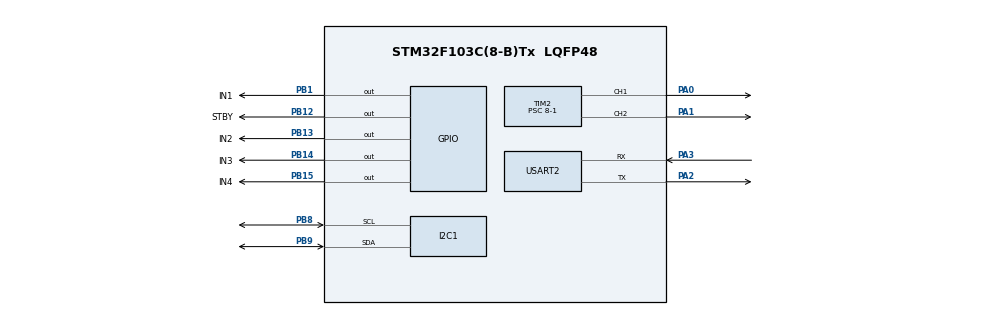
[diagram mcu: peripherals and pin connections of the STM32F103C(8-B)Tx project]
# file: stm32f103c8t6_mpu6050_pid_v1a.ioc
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Mcu.Family=STM32F1
Mcu.Name=STM32F103C(8-B)Tx
Mcu.Package=LQFP48
NVIC.PriorityGroup=NVIC_PRIORITYGROUP_4
PA0-WKUP.Signal=S_TIM2_CH1_ETR
PA1.Signal=S_TIM2_CH2
PA13.Mode=Serial_Wire
PA13.Signal=SYS_JTMS-SWDIO
PA14.Mode=Serial_Wire
PA14.Signal=SYS_JTCK-SWCLK
PA2.Mode=Asynchronous
PA2.Signal=USART2_TX
PA3.Mode=Asynchronous
PA3.Signal=USART2_RX
PB1.GPIO_Label=IN1
PB1.Signal=GPIO_Output
PB12.GPIO_Label=STBY
PB12.Signal=GPIO_Output
PB13.GPIO_Label=IN2
PB13.Signal=GPIO_Output
PB14.GPIO_Label=IN3
PB14.Signal=GPIO_Output
PB15.GPIO_Label=IN4
PB15.Signal=GPIO_Output
PB8.Mode=I2C
PB8.Signal=I2C1_SCL
PB9.Mode=I2C
PB9.Signal=I2C1_SDA
PD0-OSC_IN.Mode=HSE-External-Oscillator
PD0-OSC_IN.Signal=RCC_OSC_IN
PD1-OSC_OUT.Mode=HSE-External-Oscillator
PD1-OSC_OUT.Signal=RCC_OSC_OUT
ProjectManager.HeapSize=0x200
ProjectManager.StackSize=0x400
ProjectManager.TargetToolchain=MDK-ARM V5.32
RCC.APB1Freq_Value=8000000
RCC.APB2CLKDivider=RCC_HCLK_DIV8
RCC.APB2Freq_Value=1000000
RCC.APB2TimFreq_Value=2000000
SH.S_TIM2_CH1_ETR.0=TIM2_CH1,PWM Generation1 CH1
SH.S_TIM2_CH2.0=TIM2_CH2,PWM Generation2 CH2
TIM2.Channel-PWM\ Generation1\ CH1=TIM_CHANNEL_1
TIM2.Channel-PWM\ Generation2\ CH2=TIM_CHANNEL_2
TIM2.Period=1000
TIM2.Prescaler=8-1
USART2.VirtualMode=VM_ASYNC
VP_TIM2_VS_ClockSourceINT.Mode=Internal
board=custom

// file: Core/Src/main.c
/* USER CODE BEGIN Header */
/**
  ******************************************************************************
  * @file           : main.c
  * @brief          : Main program body
  ******************************************************************************
  * @attention
  *
  * Copyright (c) 2025 STMicroelectronics.
  * All rights reserved.
  *
  * This software is licensed under terms that can be found in the LICENSE file
  * in the root directory of this software component.
  * If no LICENSE file comes with this software, it is provided AS-IS.
  *
  ******************************************************************************
  */
/* USER CODE END Header */
#include "main.h"

/* USER CODE BEGIN Includes */
#include "MPU6050.h"
#include "motor.h"
#include "pid.h"
#include "fonts.h"
#include <stdio.h>
#include <stdarg.h>
#include <math.h>
#include <string.h>
#include <stdlib.h>

/* USER CODE END Includes */

/* USER CODE BEGIN PD */
#define ONE_G 				(9.81) 	// acceleration due to gravity
#define LOOP_DELAY 			(10)	// infinite loop delay

// PID defines
#define MOTOR_REFERENCE 200	// define the motor reference speed
float motor_reference_angle = -1; // the imu is placed such that a change in x axis drives the tilt
//float sample_rate = 0.000125; // 0.125 ms TODO: use system clock to get sample rate
unsigned long long sampling_frequency = 8000000;

// motor defines
#define LEFT_DC_MOTOR 0
#define RIGHT_DC_MOTOR 1

// create motor PID instances
// left motor PID instance
pid_instance left_motor_pid_instance;
pid_instance* p_left_motor_instance = &left_motor_pid_instance;

// right motor PID instance
pid_instance right_motor_pid_instance;
pid_instance* p_right_motor_instance = &right_motor_pid_instance;

/* USER CODE END PD */

I2C_HandleTypeDef hi2c1;

TIM_HandleTypeDef htim2;

UART_HandleTypeDef huart2;

/* USER CODE BEGIN PV */
char msg[20] = "";
char mpu_data[100];
char data[40] = ""; // sd card test char array
char debug[40];

// create accelerometer struct
MPU6050 acc;
MPU6050* p_acc = &acc; // pointer to accelerometer
float x_acc_ms, y_acc_ms, z_acc_ms; // acceleration converted to m/s^2

// struct to hold both accelerometer data and the gyroscope data
typedef struct {
	float x_acc;
	float y_acc;
	float z_acc;
	float gyro_x;
	float gyro_y;
	float gyro_z;
} SensorData;

SensorData sensorData;

// use this pointer to store raw sensor data
SensorData* p_SensorData = &sensorData;

// struct to hold filtered sensor data - angles to be specific
// these are angle estimates, not accurate angles
typedef struct {
	float x_angle_estimate;
	float y_angle_estimate;
	float z_angle_estimate;

} FilteredAngles;

FilteredAngles filtered_angles;
FilteredAngles* p_filtered_angles = &filtered_angles;

// variables to store the rotation angles of the sensor
unsigned long 	last_read_time = 0;
float			last_x_angle; // filtered angles
float 		last_y_angle;
float			last_z_angle;
float			last_gyro_x_angle; // store the gyro angles to compare drift
float			last_gyro_y_angle;
float 		last_gyro_z_angle;

// radians to degrees conversion factor
float RADS_TO_DEG = 180.0 / 3.14159;
float alpha = 0.96;
volatile float out;
/* USER CODE END PV */

void SystemClock_Config(void);
static void MX_GPIO_Init(void);
static void MX_I2C1_Init(void);
static void MX_TIM2_Init(void);
static void MX_USART2_UART_Init(void);
/* USER CODE BEGIN PFP */
// function to set the current angle readings to the last read angles
void myPrintf(const char *fmt, ...); // function to send formatted data over serial
void setDutyCycle(int dutyCycle); // function to set PWM duty cycle

void set_last_read_angle_data(
		unsigned long time,
		float x,
		float y,
		float z,
		float x_gyro,
		float y_gyro,
		float z_gyro
		) {
	last_read_time = time;
	last_x_angle = x;
	last_y_angle = y;
	last_z_angle = z;
	last_gyro_x_angle = x_gyro;
	last_gyro_y_angle = y_gyro;
	last_gyro_z_angle = z_gyro;
}

// calibration variables
float	base_x_accel;
float 	base_y_accel;
float	base_z_accel;
float 	base_x_gyro;
float	base_y_gyro;
float	base_z_gyro;

// function to callibrate sensors
void callibrate_sensor(){
	int		num_readings = 20;
	float 	x_accel = 0;
	float	y_accel = 0;
	float 	z_accel	= 0;
	float	x_gyro	= 0;
	float 	y_gyro	= 0;
	float	z_gyro	= 0;

	for(int i = 0; i < num_readings; i++){
		// read accelerometer
		MPU6050_ReadAcceleration(&acc);

		// Read gyroscope values
		MPU6050_ReadGyroscope(&acc);

		// convert accelerometer readings to m/s^2
		x_acc_ms = p_acc->acc_mps2[0] * ONE_G;
		y_acc_ms = p_acc->acc_mps2[1] * ONE_G;
		z_acc_ms = p_acc->acc_mps2[2] * ONE_G;

		x_accel += x_acc_ms;
		y_accel += y_acc_ms;
		z_accel += z_acc_ms;
		x_gyro += p_acc->gyro_data[0];
		y_gyro += p_acc->gyro_data[1];
		z_gyro += p_acc->gyro_data[2];

		HAL_Delay(100);

	}

	// average the readings
	x_accel /= num_readings;
	y_accel /= num_readings;
	z_accel /= num_readings;
	x_gyro /= num_readings;
	y_gyro /= num_readings;
	z_gyro /= num_readings;

	// Store the raw calibration values globally
	base_x_accel = x_accel;
	base_y_accel = y_accel;
	base_z_accel = z_accel;
	base_x_gyro = x_gyro;
	base_y_gyro = y_gyro;
	base_z_gyro = z_gyro;

	myPrintf("Callibration done!\r");

}

void myPrintf(const char* fmt, ...){
	static char buffer[256];
	va_list args;
	va_start(args, fmt);
	vsnprintf(buffer, sizeof(buffer), fmt, args);
	va_end(args);

	int len = strlen(buffer);
	HAL_UART_Transmit(&huart2, (uint8_t*)buffer, len, -1);
}

/* USER CODE END PFP */

int main(void)
{

  /* MCU Configuration--------------------------------------------------------*/

  /* Reset of all peripherals, Initializes the Flash interface and the Systick. */
  HAL_Init();

  /* Configure the system clock */
  SystemClock_Config();

  /* Initialize all configured peripherals */
  MX_GPIO_Init();
  MX_I2C1_Init();
  MX_TIM2_Init();
  MX_USART2_UART_Init();
  /* USER CODE BEGIN 2 */

  // start motors
  motor_init(LEFT_DC_MOTOR);
  motor_init(RIGHT_DC_MOTOR);
  motor_start(LEFT_DC_MOTOR, CW, 0);
  motor_start(RIGHT_DC_MOTOR, CW, 0);

  // set pID gains
  set_pid(p_left_motor_instance, 28, 380, 1.6);
  set_pid(p_right_motor_instance,28, 380, 1.6);

  /*-------------------------INERTIAL MEASUREMENT UNIT FUNCTIONS--------------------------------*/
  MPU6050_Initialise(&acc, &hi2c1); // TODO: check initialization status here

  // calibrate the sensor
  callibrate_sensor();

  // initialize the sensor angles to known values
  set_last_read_angle_data(HAL_GetTick(), 0, 0, 0, 0, 0, 0);

  /* USER CODE END 2 */

  /* Infinite loop */
  while (1)
  {

    /* USER CODE BEGIN 3 */
	    // read accelerometer values
	    MPU6050_ReadAcceleration(&acc);

	    // Read gyroscope values
	    MPU6050_ReadGyroscope(&acc);

	  	// convert accelerometer readings to m/s^2
	  	x_acc_ms = p_acc->acc_mps2[0] * ONE_G;
	  	y_acc_ms = p_acc->acc_mps2[1] * ONE_G;
	  	z_acc_ms = p_acc->acc_mps2[2] * ONE_G;

	  	/*-------------- get orientation - tilt on x and y axis */

	  	// get the time of reading for rotation computations
	  	unsigned long t_now = HAL_GetTick();

	  	// set accelerometer data
	  	p_SensorData->x_acc = x_acc_ms;
	  	p_SensorData->y_acc = y_acc_ms;
	  	p_SensorData->z_acc = z_acc_ms;

	  	// these gyro values are in degrees per second
	  	p_SensorData->gyro_x = p_acc->gyro_data[0] - base_x_gyro;
	  	p_SensorData->gyro_y = p_acc->gyro_data[1] - base_y_gyro;
	  	p_SensorData->gyro_z = p_acc->gyro_data[2] - base_z_gyro;

	    // compute angles from the accelerometer
	  	float accel_angle_y = atan(-1 * p_SensorData->x_acc/sqrt(pow(p_SensorData->y_acc, 2) + pow(p_SensorData->z_acc, 2))) * RADS_TO_DEG;
	  	float accel_angle_x = atan(p_SensorData->y_acc / sqrt( pow(p_SensorData->x_acc, 2) + pow(p_SensorData->z_acc, 2) )) * RADS_TO_DEG;
	  	//float accel_angle_z = 0;

	  	float dt = (t_now - last_read_time) / 1000.0 ; // last read time in seconds

	  	// compute the filtered gyro angles
	  	float gyro_angle_x = p_SensorData->gyro_x * dt + last_x_angle;
	  	float gyro_angle_y = p_SensorData->gyro_y * dt + last_y_angle;
	  	float gyro_angle_z = p_SensorData->gyro_z * dt + last_z_angle;

	  	/* Apply complementary filter */
	  	p_filtered_angles->x_angle_estimate = alpha * gyro_angle_x + (1 - alpha) * (accel_angle_x);
	  	p_filtered_angles->y_angle_estimate = alpha * gyro_angle_y + (1 - alpha) * (accel_angle_y);
	  	p_filtered_angles->z_angle_estimate = gyro_angle_z; // accelerometer doesn't give z-angle

	  	// update the saved data with the latest values
	  	set_last_read_angle_data(
	  			t_now,
	  			p_filtered_angles->x_angle_estimate,
	  			p_filtered_angles->y_angle_estimate,
	  			p_filtered_angles->z_angle_estimate,
	  			gyro_angle_x,
	  			gyro_angle_y,
	  			gyro_angle_z
	  			);

	  	// run motors
	  	apply_pid(p_left_motor_instance, motor_reference_angle - p_filtered_angles->y_angle_estimate,  sampling_frequency );
	  	apply_pid(p_right_motor_instance, motor_reference_angle - p_filtered_angles->y_angle_estimate, sampling_frequency );

	  	// according to how i've mounted the MPU, i'm interested in x-axis angle
	  	sprintf(mpu_data,
	  			"%.2f,%d\r\n",
				p_filtered_angles->y_angle_estimate* 50,
				p_left_motor_instance->output
	  			);
	  //	HAL_UART_Transmit(&huart2, (uint8_t*)mpu_data, strlen(mpu_data), 10);
	  	HAL_GPIO_WritePin(STBY_GPIO_Port,STBY_Pin,GPIO_PIN_SET);
	  	if(p_left_motor_instance->output < 0 ) {

//	  		sprintf(debug, "l-cw:%d\r\n", p_left_motor_instance->output);
//	  		HAL_UART_Transmit(&huart2, (uint8_t*)debug, 20, 100);

	  		motor_set_dir(LEFT_DC_MOTOR, CW);
	  		motor_set_speed(LEFT_DC_MOTOR, p_left_motor_instance->output * -1);
	  	}
	  	if (p_right_motor_instance->output < 0 ) {

//	  		sprintf(debug, "r-cw:%d\r\n", p_right_motor_instance->output);
//	  		HAL_UART_Transmit(&huart2, (uint8_t*)debug, 20, 100);

	  		motor_set_dir(RIGHT_DC_MOTOR, CW);
	  		motor_set_speed(RIGHT_DC_MOTOR, p_right_motor_instance->output * -1);
	  	}

	  	if(p_left_motor_instance->output > 0 ) {

			motor_set_dir(LEFT_DC_MOTOR, CCW);
			motor_set_speed(LEFT_DC_MOTOR, p_left_motor_instance->output);
		}

	  	if (p_right_motor_instance->output > 0 ) {
//	  		sprintf(debug, "r-ccw:%d\r\n", p_right_motor_instance->output);
//	  		HAL_UART_Transmit(&huart2, (uint8_t*)debug, 20, 100);

			motor_set_dir(RIGHT_DC_MOTOR, CCW);
			motor_set_speed(RIGHT_DC_MOTOR, p_right_motor_instance->output);
		}
out = p_left_motor_instance->output;
  }
  /* USER CODE END 3 */
}

void SystemClock_Config(void)
{
  RCC_OscInitTypeDef RCC_OscInitStruct = {0};
  RCC_ClkInitTypeDef RCC_ClkInitStruct = {0};

  /** Initializes the RCC Oscillators according to the specified parameters
  * in the RCC_OscInitTypeDef structure.
  */
  RCC_OscInitStruct.OscillatorType = RCC_OSCILLATORTYPE_HSI;
  RCC_OscInitStruct.HSIState = RCC_HSI_ON;
  RCC_OscInitStruct.HSICalibrationValue = RCC_HSICALIBRATION_DEFAULT;
  RCC_OscInitStruct.PLL.PLLState = RCC_PLL_NONE;
  if (HAL_RCC_OscConfig(&RCC_OscInitStruct) != HAL_OK)
  {
    Error_Handler();
  }

  /** Initializes the CPU, AHB and APB buses clocks
  */
  RCC_ClkInitStruct.ClockType = RCC_CLOCKTYPE_HCLK|RCC_CLOCKTYPE_SYSCLK
                              |RCC_CLOCKTYPE_PCLK1|RCC_CLOCKTYPE_PCLK2;
  RCC_ClkInitStruct.SYSCLKSource = RCC_SYSCLKSOURCE_HSI;
  RCC_ClkInitStruct.AHBCLKDivider = RCC_SYSCLK_DIV1;
  RCC_ClkInitStruct.APB1CLKDivider = RCC_HCLK_DIV1;
  RCC_ClkInitStruct.APB2CLKDivider = RCC_HCLK_DIV8;

  if (HAL_RCC_ClockConfig(&RCC_ClkInitStruct, FLASH_LATENCY_0) != HAL_OK)
  {
    Error_Handler();
  }
}

static void MX_I2C1_Init(void)
{

  hi2c1.Instance = I2C1;
  hi2c1.Init.ClockSpeed = 100000;
  hi2c1.Init.DutyCycle = I2C_DUTYCYCLE_2;
  hi2c1.Init.OwnAddress1 = 0;
  hi2c1.Init.AddressingMode = I2C_ADDRESSINGMODE_7BIT;
  hi2c1.Init.DualAddressMode = I2C_DUALADDRESS_DISABLE;
  hi2c1.Init.OwnAddress2 = 0;
  hi2c1.Init.GeneralCallMode = I2C_GENERALCALL_DISABLE;
  hi2c1.Init.NoStretchMode = I2C_NOSTRETCH_DISABLE;
  if (HAL_I2C_Init(&hi2c1) != HAL_OK)
  {
    Error_Handler();
  }

}

static void MX_TIM2_Init(void)
{

  TIM_ClockConfigTypeDef sClockSourceConfig = {0};
  TIM_MasterConfigTypeDef sMasterConfig = {0};
  TIM_OC_InitTypeDef sConfigOC = {0};

  htim2.Instance = TIM2;
  htim2.Init.Prescaler = 8-1;
  htim2.Init.CounterMode = TIM_COUNTERMODE_UP;
  htim2.Init.Period = 1000;
  htim2.Init.ClockDivision = TIM_CLOCKDIVISION_DIV1;
  htim2.Init.AutoReloadPreload = TIM_AUTORELOAD_PRELOAD_DISABLE;
  if (HAL_TIM_Base_Init(&htim2) != HAL_OK)
  {
    Error_Handler();
  }
  sClockSourceConfig.ClockSource = TIM_CLOCKSOURCE_INTERNAL;
  if (HAL_TIM_ConfigClockSource(&htim2, &sClockSourceConfig) != HAL_OK)
  {
    Error_Handler();
  }
  if (HAL_TIM_PWM_Init(&htim2) != HAL_OK)
  {
    Error_Handler();
  }
  sMasterConfig.MasterOutputTrigger = TIM_TRGO_RESET;
  sMasterConfig.MasterSlaveMode = TIM_MASTERSLAVEMODE_DISABLE;
  if (HAL_TIMEx_MasterConfigSynchronization(&htim2, &sMasterConfig) != HAL_OK)
  {
    Error_Handler();
  }
  sConfigOC.OCMode = TIM_OCMODE_PWM1;
  sConfigOC.Pulse = 0;
  sConfigOC.OCPolarity = TIM_OCPOLARITY_HIGH;
  sConfigOC.OCFastMode = TIM_OCFAST_DISABLE;
  if (HAL_TIM_PWM_ConfigChannel(&htim2, &sConfigOC, TIM_CHANNEL_1) != HAL_OK)
  {
    Error_Handler();
  }
  if (HAL_TIM_PWM_ConfigChannel(&htim2, &sConfigOC, TIM_CHANNEL_2) != HAL_OK)
  {
    Error_Handler();
  }
  HAL_TIM_MspPostInit(&htim2);

}

static void MX_USART2_UART_Init(void)
{

  huart2.Instance = USART2;
  huart2.Init.BaudRate = 115200;
  huart2.Init.WordLength = UART_WORDLENGTH_8B;
  huart2.Init.StopBits = UART_STOPBITS_1;
  huart2.Init.Parity = UART_PARITY_NONE;
  huart2.Init.Mode = UART_MODE_TX_RX;
  huart2.Init.HwFlowCtl = UART_HWCONTROL_NONE;
  huart2.Init.OverSampling = UART_OVERSAMPLING_16;
  if (HAL_UART_Init(&huart2) != HAL_OK)
  {
    Error_Handler();
  }

}

static void MX_GPIO_Init(void)
{
  GPIO_InitTypeDef GPIO_InitStruct = {0};

  /* GPIO Ports Clock Enable */
  __HAL_RCC_GPIOD_CLK_ENABLE();
  __HAL_RCC_GPIOA_CLK_ENABLE();
  __HAL_RCC_GPIOB_CLK_ENABLE();

  /*Configure GPIO pin Output Level */
  HAL_GPIO_WritePin(GPIOB, IN1_Pin|STBY_Pin|IN2_Pin|IN3_Pin
                          |IN4_Pin, GPIO_PIN_RESET);

  /*Configure GPIO pins : IN1_Pin STBY_Pin IN2_Pin IN3_Pin
                           IN4_Pin */
  GPIO_InitStruct.Pin = IN1_Pin|STBY_Pin|IN2_Pin|IN3_Pin
                          |IN4_Pin;
  GPIO_InitStruct.Mode = GPIO_MODE_OUTPUT_PP;
  GPIO_InitStruct.Pull = GPIO_NOPULL;
  GPIO_InitStruct.Speed = GPIO_SPEED_FREQ_LOW;
  HAL_GPIO_Init(GPIOB, &GPIO_InitStruct);

}

void Error_Handler(void)
{
  __disable_irq();
  while (1)
  {
  }
}
